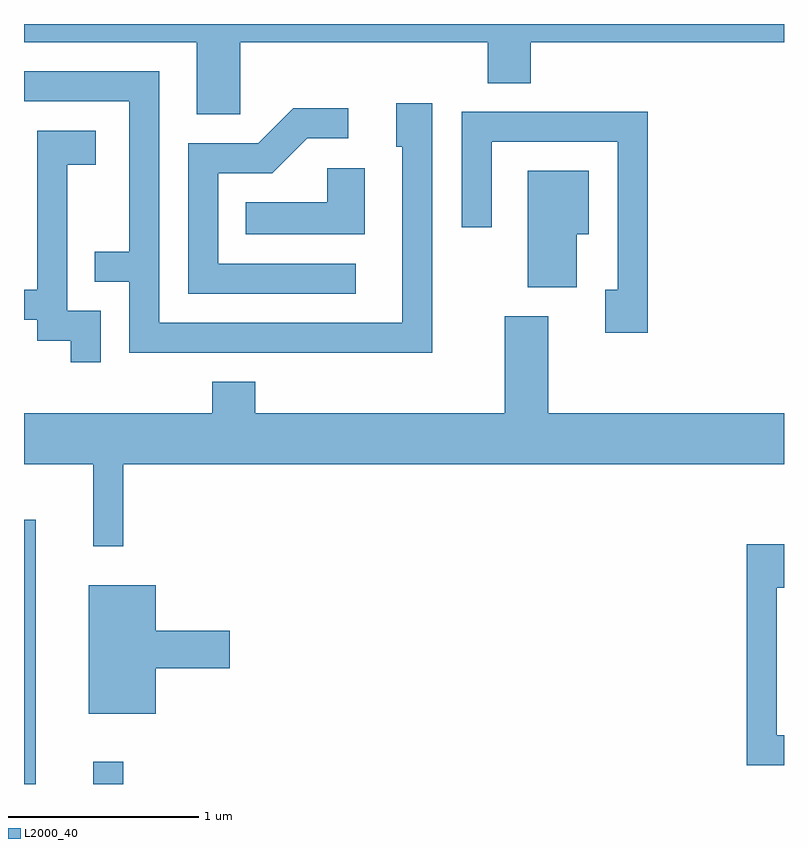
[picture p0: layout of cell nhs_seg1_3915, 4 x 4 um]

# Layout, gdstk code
import gdstk
lib = gdstk.Library(unit=1e-6, precision=1e-09)
def R(c, l, rs):  # rectangles x0, y0, x1, y1
    for r in rs: c.add(gdstk.rectangle(r[:2], r[2:], *l))
def P(c, l, *ps):  # polygons
    for p in ps: c.add(gdstk.Polygon(p, *l))
L2000_40 = (2000, 40)

nhs_seg1_3915 = lib.new_cell('nhs_seg1_3915')
R(nhs_seg1_3915, L2000_40, [(303.611,855.712,303.674,857.104), (303.976,855.712,304.134,855.828)])
P(nhs_seg1_3915, L2000_40, [(304.749,859.616),(306.051,859.616),(306.051,859.401),(306.279,859.401),(306.279,859.616),(307.611,859.616),(307.611,859.712),(303.611,859.712),(303.611,859.616),(304.521,859.616),(304.521,859.236),(304.749,859.236)],
  [(305.759,859.294),(305.571,859.294),(305.571,859.066),(305.601,859.066),(305.601,858.139),(304.324,858.139),(304.324,859.464),(303.611,859.464),(303.611,859.306),(304.166,859.306),(304.166,858.514),(303.983,858.514),(303.983,858.356),(304.166,858.356),(304.166,857.981),(305.759,857.981)],
  [(305.358,858.449),(304.634,858.449),(304.634,858.926),(304.917,858.926),(305.102,859.111),(305.318,859.111),(305.318,859.269),(305.029,859.269),(304.844,859.084),(304.476,859.084),(304.476,858.291),(305.358,858.291)],
  [(306.894,859.249),(305.916,859.249),(305.916,858.643),(306.074,858.643),(306.074,859.091),(306.736,859.091),(306.736,858.314),(306.671,858.314),(306.671,858.086),(306.894,858.086)],
  [(304.014,858.204),(303.839,858.204),(303.839,858.971),(303.989,858.971),(303.989,859.149),(303.681,859.149),(303.681,858.314),(303.611,858.314),(303.611,858.156),(303.681,858.156),(303.681,858.046),(303.856,858.046),(303.856,857.933),(304.014,857.933)],
  [(305.404,858.954),(305.206,858.954),(305.206,858.774),(304.778,858.774),(304.778,858.606),(305.404,858.606)],
  [(306.519,858.606),(306.584,858.606),(306.584,858.939),(306.261,858.939),(306.261,858.326),(306.519,858.326)],
  [(304.134,857.396),(307.611,857.396),(307.611,857.664),(306.369,857.664),(306.369,858.174),(306.141,858.174),(306.141,857.664),(304.829,857.664),(304.829,857.829),(304.601,857.829),(304.601,857.664),(303.611,857.664),(303.611,857.396),(303.976,857.396),(303.976,856.963),(304.134,856.963)],
  [(307.611,855.969),(307.574,855.969),(307.574,856.746),(307.611,856.746),(307.611,856.974),(307.416,856.974),(307.416,855.811),(307.611,855.811)],
  [(304.304,856.321),(304.694,856.321),(304.694,856.519),(304.304,856.519),(304.304,856.759),(303.951,856.759),(303.951,856.081),(304.304,856.081)])

lib.write_gds('nhs_seg1_3915.gds')
